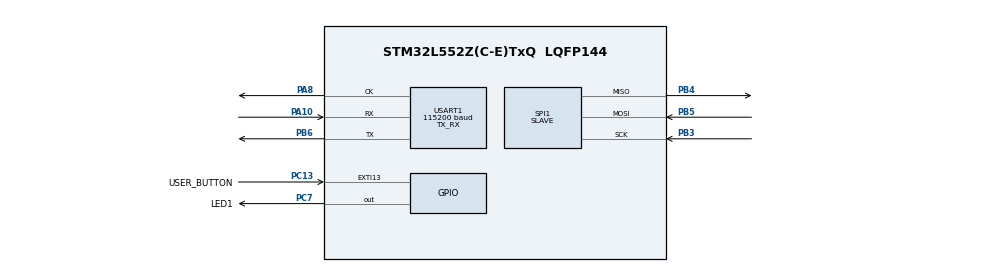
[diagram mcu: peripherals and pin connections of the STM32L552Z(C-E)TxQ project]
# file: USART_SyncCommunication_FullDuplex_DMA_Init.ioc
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Dma.Request0=SPI1_TX
Dma.Request1=SPI1_RX
Dma.Request2=USART1_TX
Dma.Request3=USART1_RX
Dma.SPI1_RX.1.Channel_PRIV_NPRIV=DMA_CHANNEL_NPRIV_DISABLE
Dma.SPI1_RX.1.Direction=DMA_PERIPH_TO_MEMORY
Dma.SPI1_RX.1.EventEnable=DISABLE
Dma.SPI1_RX.1.Instance=DMA1_Channel3
Dma.SPI1_RX.1.MemDataAlignment=DMA_MDATAALIGN_BYTE
Dma.SPI1_RX.1.MemInc=DMA_MINC_ENABLE
Dma.SPI1_RX.1.Mode=DMA_NORMAL
Dma.SPI1_RX.1.PeriphDataAlignment=DMA_PDATAALIGN_BYTE
Dma.SPI1_RX.1.PeriphInc=DMA_PINC_DISABLE
Dma.SPI1_RX.1.Polarity=HAL_DMAMUX_REQ_GEN_RISING
Dma.SPI1_RX.1.Priority=DMA_PRIORITY_HIGH
Dma.SPI1_RX.1.RequestNumber=1
Dma.SPI1_RX.1.SignalID=HAL_DMAMUX1_REQ_GEN_EXTI13
Dma.SPI1_RX.1.SyncEnable=DISABLE
Dma.SPI1_RX.1.SyncPolarity=HAL_DMAMUX_SYNC_NO_EVENT
Dma.SPI1_RX.1.SyncRequestNumber=1
Dma.SPI1_RX.1.SyncSignalID=HAL_DMAMUX1_SYNC_EXTI13
Dma.SPI1_TX.0.Channel_PRIV_NPRIV=DMA_CHANNEL_NPRIV_DISABLE
Dma.SPI1_TX.0.Direction=DMA_MEMORY_TO_PERIPH
Dma.SPI1_TX.0.EventEnable=DISABLE
Dma.SPI1_TX.0.Instance=DMA1_Channel2
Dma.SPI1_TX.0.MemDataAlignment=DMA_MDATAALIGN_BYTE
Dma.SPI1_TX.0.MemInc=DMA_MINC_ENABLE
Dma.SPI1_TX.0.Mode=DMA_NORMAL
Dma.SPI1_TX.0.PeriphDataAlignment=DMA_PDATAALIGN_BYTE
Dma.SPI1_TX.0.PeriphInc=DMA_PINC_DISABLE
Dma.SPI1_TX.0.Polarity=HAL_DMAMUX_REQ_GEN_RISING
Dma.SPI1_TX.0.Priority=DMA_PRIORITY_HIGH
Dma.SPI1_TX.0.RequestNumber=1
Dma.SPI1_TX.0.SignalID=HAL_DMAMUX1_REQ_GEN_EXTI13
Dma.SPI1_TX.0.SyncEnable=DISABLE
Dma.SPI1_TX.0.SyncPolarity=HAL_DMAMUX_SYNC_NO_EVENT
Dma.SPI1_TX.0.SyncRequestNumber=1
Dma.SPI1_TX.0.SyncSignalID=HAL_DMAMUX1_SYNC_EXTI13
Dma.USART1_RX.3.Channel_PRIV_NPRIV=DMA_CHANNEL_NPRIV_DISABLE
Dma.USART1_RX.3.Direction=DMA_PERIPH_TO_MEMORY
Dma.USART1_RX.3.EventEnable=DISABLE
Dma.USART1_RX.3.Instance=DMA1_Channel5
Dma.USART1_RX.3.MemDataAlignment=DMA_MDATAALIGN_BYTE
Dma.USART1_RX.3.MemInc=DMA_MINC_ENABLE
Dma.USART1_RX.3.Mode=DMA_NORMAL
Dma.USART1_RX.3.PeriphDataAlignment=DMA_PDATAALIGN_BYTE
Dma.USART1_RX.3.PeriphInc=DMA_PINC_DISABLE
Dma.USART1_RX.3.Polarity=HAL_DMAMUX_REQ_GEN_RISING
Dma.USART1_RX.3.Priority=DMA_PRIORITY_HIGH
Dma.USART1_RX.3.RequestNumber=1
Dma.USART1_RX.3.SignalID=HAL_DMAMUX1_REQ_GEN_EXTI13
Dma.USART1_RX.3.SyncEnable=DISABLE
Dma.USART1_RX.3.SyncPolarity=HAL_DMAMUX_SYNC_NO_EVENT
Dma.USART1_RX.3.SyncRequestNumber=1
Dma.USART1_RX.3.SyncSignalID=HAL_DMAMUX1_SYNC_EXTI13
Dma.USART1_TX.2.Channel_PRIV_NPRIV=DMA_CHANNEL_NPRIV_DISABLE
Dma.USART1_TX.2.Direction=DMA_MEMORY_TO_PERIPH
Dma.USART1_TX.2.EventEnable=DISABLE
Dma.USART1_TX.2.Instance=DMA1_Channel4
Dma.USART1_TX.2.MemDataAlignment=DMA_MDATAALIGN_BYTE
Dma.USART1_TX.2.MemInc=DMA_MINC_ENABLE
Dma.USART1_TX.2.Mode=DMA_NORMAL
Dma.USART1_TX.2.PeriphDataAlignment=DMA_PDATAALIGN_BYTE
Dma.USART1_TX.2.PeriphInc=DMA_PINC_DISABLE
Dma.USART1_TX.2.Polarity=HAL_DMAMUX_REQ_GEN_RISING
Dma.USART1_TX.2.Priority=DMA_PRIORITY_HIGH
Dma.USART1_TX.2.RequestNumber=1
Dma.USART1_TX.2.SignalID=HAL_DMAMUX1_REQ_GEN_EXTI13
Dma.USART1_TX.2.SyncEnable=DISABLE
Dma.USART1_TX.2.SyncPolarity=HAL_DMAMUX_SYNC_NO_EVENT
Dma.USART1_TX.2.SyncRequestNumber=1
Dma.USART1_TX.2.SyncSignalID=HAL_DMAMUX1_SYNC_EXTI13
Mcu.Family=STM32L5
Mcu.Name=STM32L552Z(C-E)TxQ
Mcu.Package=LQFP144
Mcu.TrustZone=disable
NVIC.DMA1_Channel2_IRQn=true\:0\:0\:false\:false\:true\:false\:true\:true
NVIC.DMA1_Channel3_IRQn=true\:0\:0\:false\:false\:true\:false\:true\:true
NVIC.DMA1_Channel4_IRQn=true\:0\:0\:false\:false\:true\:false\:true\:true
NVIC.DMA1_Channel5_IRQn=true\:0\:0\:false\:false\:true\:false\:true\:true
NVIC.EXTI13_IRQn=true\:0\:0\:false\:false\:true\:true\:true\:true
NVIC.PriorityGroup=NVIC_PRIORITYGROUP_3
PA10.GPIO_PuPd=GPIO_PULLDOWN
PA10.GPIO_Speed=GPIO_SPEED_FREQ_HIGH
PA10.Mode=Synchronous
PA10.Signal=USART1_RX
PA8.GPIO_PuPd=GPIO_PULLDOWN
PA8.GPIO_Speed=GPIO_SPEED_FREQ_HIGH
PA8.Mode=Synchronous
PA8.Signal=USART1_CK
PB3\ (JTDO/TRACESWO).GPIO_PuPd=GPIO_PULLDOWN
PB3\ (JTDO/TRACESWO).GPIO_Speed=GPIO_SPEED_FREQ_HIGH
PB3\ (JTDO/TRACESWO).Mode=Full_Duplex_Slave
PB3\ (JTDO/TRACESWO).Signal=SPI1_SCK
PB4\ (NJTRST).GPIO_PuPd=GPIO_PULLDOWN
PB4\ (NJTRST).GPIO_Speed=GPIO_SPEED_FREQ_HIGH
PB4\ (NJTRST).Mode=Full_Duplex_Slave
PB4\ (NJTRST).Signal=SPI1_MISO
PB5.GPIO_PuPd=GPIO_PULLDOWN
PB5.GPIO_Speed=GPIO_SPEED_FREQ_HIGH
PB5.Mode=Full_Duplex_Slave
PB5.Signal=SPI1_MOSI
PB6.GPIO_PuPd=GPIO_PULLDOWN
PB6.GPIO_Speed=GPIO_SPEED_FREQ_HIGH
PB6.Mode=Synchronous
PB6.Signal=USART1_TX
PC13.GPIO_Label=USER_BUTTON
PC13.GPIO_ModeDefaultEXTI=GPIO_MODE_IT_FALLING
PC13.Signal=GPXTI13
PC7.GPIO_Label=LED1
PC7.Signal=GPIO_Output
ProjectManager.HeapSize=0x200
ProjectManager.StackSize=0x400
ProjectManager.TargetToolchain=EWARM V8.32
RCC.ADCCLockSelection=RCC_ADCCLKSOURCE_SYSCLK
RCC.ADCFreq_Value=110000000
RCC.AHBFreq_Value=110000000
RCC.APB1Freq_Value=110000000
RCC.APB1TimFreq_Value=110000000
RCC.APB2Freq_Value=110000000
RCC.APB2TimFreq_Value=110000000
RCC.CortexFreq_Value=110000000
RCC.HCLKFreq_Value=110000000
RCC.HSE_VALUE=16000000
RCC.HSI48_VALUE=48000000
RCC.HSI_VALUE=16000000
RCC.LSE_VALUE=32768
RCC.MSI_VALUE=4000000
RCC.PLLN=55
RCC.PLLSAI1N=24
RCC.RTCClockSelection=RCC_RTCCLKSOURCE_LSE
RCC.SYSCLKFreq_VALUE=110000000
RCC.SYSCLKSource=RCC_SYSCLKSOURCE_PLLCLK
RCC.USBFreq_Value=48000000
RCC.VCOOutputFreq_Value=220000000
SPI1.CLKPhase=SPI_PHASE_2EDGE
SPI1.CLKPolarity=SPI_POLARITY_LOW
SPI1.CRCCalculation=SPI_CRCCALCULATION_DISABLE
SPI1.DataSize=SPI_DATASIZE_8BIT
SPI1.Direction=SPI_DIRECTION_2LINES
SPI1.FirstBit=SPI_FIRSTBIT_LSB
SPI1.Mode=SPI_MODE_SLAVE
SPI1.NSS=SPI_NSS_SOFT
SPI1.TIMode=SPI_TIMODE_DISABLE
SPI1.VirtualType=VM_SLAVE
USART1.BaudRate=115200
USART1.CLKLastBit=USART_LASTBIT_ENABLE
USART1.CLKPhase=USART_PHASE_2EDGE
USART1.CLKPolarity=USART_POLARITY_LOW
USART1.ClockPrescaler=PRESCALER_DIV1
USART1.FIFOMode=FIFOMODE_DISABLE
USART1.Mode=MODE_TX_RX
USART1.Parity=PARITY_NONE
USART1.RXFIFOThreshold=RXFIFO_THRESHOLD_1QUARTERFULL
USART1.SlaveMode=USART_SLAVEMODE_DISABLE
USART1.StopBits=STOPBITS_1
USART1.TXFIFOThreshold=TXFIFO_THRESHOLD_1QUARTERFULL
USART1.VirtualMode-Synchronous=VM_SYNC
USART1.WordLength=WORDLENGTH_8B
VP_ICACHE_VS_ICACHE.Mode=DirectMappedCache
VP_PWR_VS_DBSignals.Mode=DisableDeadBatterySignals
board=custom

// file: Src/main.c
/* USER CODE BEGIN Header */
/**
  ******************************************************************************
  * @file    Examples_LL/USART/USART_SyncCommunication_FullDuplex_DMA_Init/Src/main.c
  * @author  MCD Application Team
  * @brief   This example describes how to transfer bytes from/to an USART peripheral
  *          to/from an SPI peripheral (in slave mode) using DMA mode
  *          through the STM32L5xx USART LL API.
  *          Peripheral initialization done using LL unitary services functions.
  ******************************************************************************
  * @attention
  *
  * Copyright (c) 2019 STMicroelectronics.
  * All rights reserved.
  *
  * This software is licensed under terms that can be found in the LICENSE file
  * in the root directory of this software component.
  * If no LICENSE file comes with this software, it is provided AS-IS.
  *
  ******************************************************************************
  */
/* USER CODE END Header */
#include "main.h"

/* USER CODE BEGIN PV */
__IO uint8_t ubButtonPress = 0;

/* Buffer used for transmission */
uint8_t aUSART1TxBuffer[] = "**** USART_SyncCommunication_FullDuplex_DMA_Init USART1 to SPI1 communication ****";
uint8_t ubUSART1NbDataToTransmit = sizeof(aUSART1TxBuffer);
__IO uint8_t ubUSART1TransmissionComplete = 0;
uint8_t aSPI1TxBuffer[] = "**** USART_SyncCommunication_FullDuplex_DMA_Init SPI1 to USART1 communication ****";
uint8_t ubSPI1NbDataToTransmit = sizeof(aSPI1TxBuffer);
__IO uint8_t ubSPI1TransmissionComplete = 0;

/* Buffer used for reception */
uint8_t aUSART1RxBuffer[sizeof(aSPI1TxBuffer)];
uint8_t ubUSART1NbDataToReceive = sizeof(aSPI1TxBuffer);
__IO uint8_t ubUSART1ReceptionComplete = 0;
uint8_t aSPI1RxBuffer[sizeof(aUSART1TxBuffer)];
uint8_t ubSPI1NbDataToReceive = sizeof(aUSART1TxBuffer);
__IO uint8_t ubSPI1ReceptionComplete = 0;

/* USER CODE END PV */

void SystemClock_Config(void);
static void MX_GPIO_Init(void);
static void MX_DMA_Init(void);
static void MX_ICACHE_Init(void);
static void MX_USART1_Init(void);
static void MX_SPI1_Init(void);
/* USER CODE BEGIN PFP */
void     Activate_SPI1(void);
void     StartTransfers(void);
void     LED_On(void);
void     LED_Blinking(uint32_t Period);
void     LED_Off(void);
void     WaitForUserButtonPress(void);
void     WaitAndCheckEndOfTransfer(void);
uint8_t  Buffercmp8(uint8_t *pBuffer1, uint8_t *pBuffer2, uint8_t BufferLength);
/* USER CODE END PFP */

int main(void)
{

  /* MCU Configuration--------------------------------------------------------*/

  /* Reset of all peripherals, Initializes the Flash interface and the Systick. */
  LL_APB2_GRP1_EnableClock(LL_APB2_GRP1_PERIPH_SYSCFG);
  LL_APB1_GRP1_EnableClock(LL_APB1_GRP1_PERIPH_PWR);

  /* System interrupt init*/
  NVIC_SetPriorityGrouping(NVIC_PRIORITYGROUP_3);

  /** Disable the internal Pull-Up in Dead Battery pins of UCPD peripheral
  */
  LL_PWR_DisableUCPDDeadBattery();

  /* Configure the system clock */
  SystemClock_Config();

  /* Initialize all configured peripherals */
  MX_GPIO_Init();
  MX_DMA_Init();
  MX_ICACHE_Init();
  MX_USART1_Init();
  MX_SPI1_Init();
  /* USER CODE BEGIN 2 */

  /* Enable the SPI1 peripheral */
  Activate_SPI1();

  /* Wait for User push-button press to start transfer */
  WaitForUserButtonPress();

  /* Initiate DMA transfers */
  StartTransfers();

  /* Wait for the end of the transfer and check received data */
  WaitAndCheckEndOfTransfer();

  /* USER CODE END 2 */

  /* Infinite loop */
  while (1)
  {

  }
}

void SystemClock_Config(void)
{
  LL_FLASH_SetLatency(LL_FLASH_LATENCY_5);
  while(LL_FLASH_GetLatency()!= LL_FLASH_LATENCY_5)
  {
  }

  LL_PWR_SetRegulVoltageScaling(LL_PWR_REGU_VOLTAGE_SCALE0);
  LL_RCC_MSI_Enable();

   /* Wait till MSI is ready */
  while(LL_RCC_MSI_IsReady() != 1)
  {
  }

  LL_RCC_MSI_EnableRangeSelection();
  LL_RCC_MSI_SetRange(LL_RCC_MSIRANGE_6);
  LL_RCC_MSI_SetCalibTrimming(0);
  LL_RCC_PLL_ConfigDomain_SYS(LL_RCC_PLLSOURCE_MSI, LL_RCC_PLLM_DIV_1, 55, LL_RCC_PLLR_DIV_2);
  LL_RCC_PLL_EnableDomain_SYS();
  LL_RCC_PLL_Enable();

   /* Wait till PLL is ready */
  while(LL_RCC_PLL_IsReady() != 1)
  {
  }

   /* Intermediate AHB prescaler 2 when target frequency clock is higher than 80 MHz */
   LL_RCC_SetAHBPrescaler(LL_RCC_SYSCLK_DIV_2);

  LL_RCC_SetSysClkSource(LL_RCC_SYS_CLKSOURCE_PLL);

   /* Wait till System clock is ready */
  while(LL_RCC_GetSysClkSource() != LL_RCC_SYS_CLKSOURCE_STATUS_PLL)
  {
  }

  /* Insure 1us transition state at intermediate medium speed clock*/
  for (__IO uint32_t i = (RCC_MAX_FREQUENCY_MHZ >> 1); i !=0; i--);

  LL_RCC_SetAHBPrescaler(LL_RCC_SYSCLK_DIV_1);
  LL_RCC_SetAPB1Prescaler(LL_RCC_APB1_DIV_1);
  LL_RCC_SetAPB2Prescaler(LL_RCC_APB2_DIV_1);

  LL_Init1msTick(110000000);

  LL_SetSystemCoreClock(110000000);
}

static void MX_ICACHE_Init(void)
{

  /** Enable instruction cache in 1-way (direct mapped cache)
  */
  LL_ICACHE_SetMode(LL_ICACHE_1WAY);
  LL_ICACHE_Enable();

}

static void MX_SPI1_Init(void)
{

  LL_SPI_InitTypeDef SPI_InitStruct = {0};

  LL_GPIO_InitTypeDef GPIO_InitStruct = {0};

  /* Peripheral clock enable */
  LL_APB2_GRP1_EnableClock(LL_APB2_GRP1_PERIPH_SPI1);

  LL_AHB2_GRP1_EnableClock(LL_AHB2_GRP1_PERIPH_GPIOB);
  /**SPI1 GPIO Configuration
  PB3 (JTDO/TRACESWO)   ------> SPI1_SCK
  PB4 (NJTRST)   ------> SPI1_MISO
  PB5   ------> SPI1_MOSI
  */
  GPIO_InitStruct.Pin = LL_GPIO_PIN_3|LL_GPIO_PIN_4|LL_GPIO_PIN_5;
  GPIO_InitStruct.Mode = LL_GPIO_MODE_ALTERNATE;
  GPIO_InitStruct.Speed = LL_GPIO_SPEED_FREQ_HIGH;
  GPIO_InitStruct.OutputType = LL_GPIO_OUTPUT_PUSHPULL;
  GPIO_InitStruct.Pull = LL_GPIO_PULL_DOWN;
  GPIO_InitStruct.Alternate = LL_GPIO_AF_5;
  LL_GPIO_Init(GPIOB, &GPIO_InitStruct);

  /* SPI1 DMA Init */

  /* SPI1_TX Init */
  LL_DMA_SetPeriphRequest(DMA1, LL_DMA_CHANNEL_2, LL_DMAMUX_REQ_SPI1_TX);

  LL_DMA_SetDataTransferDirection(DMA1, LL_DMA_CHANNEL_2, LL_DMA_DIRECTION_MEMORY_TO_PERIPH);

  LL_DMA_SetChannelPriorityLevel(DMA1, LL_DMA_CHANNEL_2, LL_DMA_PRIORITY_HIGH);

  LL_DMA_SetMode(DMA1, LL_DMA_CHANNEL_2, LL_DMA_MODE_NORMAL);

  LL_DMA_SetPeriphIncMode(DMA1, LL_DMA_CHANNEL_2, LL_DMA_PERIPH_NOINCREMENT);

  LL_DMA_SetMemoryIncMode(DMA1, LL_DMA_CHANNEL_2, LL_DMA_MEMORY_INCREMENT);

  LL_DMA_SetPeriphSize(DMA1, LL_DMA_CHANNEL_2, LL_DMA_PDATAALIGN_BYTE);

  LL_DMA_SetMemorySize(DMA1, LL_DMA_CHANNEL_2, LL_DMA_MDATAALIGN_BYTE);

  LL_DMA_DisableChannelPrivilege(DMA1, LL_DMA_CHANNEL_2);

  /* SPI1_RX Init */
  LL_DMA_SetPeriphRequest(DMA1, LL_DMA_CHANNEL_3, LL_DMAMUX_REQ_SPI1_RX);

  LL_DMA_SetDataTransferDirection(DMA1, LL_DMA_CHANNEL_3, LL_DMA_DIRECTION_PERIPH_TO_MEMORY);

  LL_DMA_SetChannelPriorityLevel(DMA1, LL_DMA_CHANNEL_3, LL_DMA_PRIORITY_HIGH);

  LL_DMA_SetMode(DMA1, LL_DMA_CHANNEL_3, LL_DMA_MODE_NORMAL);

  LL_DMA_SetPeriphIncMode(DMA1, LL_DMA_CHANNEL_3, LL_DMA_PERIPH_NOINCREMENT);

  LL_DMA_SetMemoryIncMode(DMA1, LL_DMA_CHANNEL_3, LL_DMA_MEMORY_INCREMENT);

  LL_DMA_SetPeriphSize(DMA1, LL_DMA_CHANNEL_3, LL_DMA_PDATAALIGN_BYTE);

  LL_DMA_SetMemorySize(DMA1, LL_DMA_CHANNEL_3, LL_DMA_MDATAALIGN_BYTE);

  LL_DMA_DisableChannelPrivilege(DMA1, LL_DMA_CHANNEL_3);

  /* USER CODE BEGIN SPI1_Init 1 */
  /* (3) Configure the DMA1 functional parameters for transmission */
  LL_DMA_ConfigAddresses(DMA1, LL_DMA_CHANNEL_2,
                         (uint32_t)aSPI1TxBuffer,
                         (uint32_t)&(SPI1->DR),
                         LL_DMA_GetDataTransferDirection(DMA1, LL_DMA_CHANNEL_2));
  LL_DMA_SetDataLength(DMA1, LL_DMA_CHANNEL_2, ubSPI1NbDataToTransmit);

  /* (4) Configure the DMA functional parameters for reception */
  LL_DMA_ConfigAddresses(DMA1, LL_DMA_CHANNEL_3,
                         (uint32_t)&(SPI1->DR),
                         (uint32_t)aSPI1RxBuffer,
                         LL_DMA_GetDataTransferDirection(DMA1, LL_DMA_CHANNEL_3));
  LL_DMA_SetDataLength(DMA1, LL_DMA_CHANNEL_3, ubSPI1NbDataToReceive);
  /* (5) Enable DMA transfer complete/error interrupts  */
  LL_DMA_EnableIT_TC(DMA1, LL_DMA_CHANNEL_2);
  LL_DMA_EnableIT_TE(DMA1, LL_DMA_CHANNEL_2);
  LL_DMA_EnableIT_TC(DMA1, LL_DMA_CHANNEL_3);
  LL_DMA_EnableIT_TE(DMA1, LL_DMA_CHANNEL_3);
  /* USER CODE END SPI1_Init 1 */
  /* SPI1 parameter configuration*/
  SPI_InitStruct.TransferDirection = LL_SPI_FULL_DUPLEX;
  SPI_InitStruct.Mode = LL_SPI_MODE_SLAVE;
  SPI_InitStruct.DataWidth = LL_SPI_DATAWIDTH_8BIT;
  SPI_InitStruct.ClockPolarity = LL_SPI_POLARITY_LOW;
  SPI_InitStruct.ClockPhase = LL_SPI_PHASE_2EDGE;
  SPI_InitStruct.NSS = LL_SPI_NSS_SOFT;
  SPI_InitStruct.BitOrder = LL_SPI_LSB_FIRST;
  SPI_InitStruct.CRCCalculation = LL_SPI_CRCCALCULATION_DISABLE;
  SPI_InitStruct.CRCPoly = 7;
  LL_SPI_Init(SPI1, &SPI_InitStruct);
  LL_SPI_SetStandard(SPI1, LL_SPI_PROTOCOL_MOTOROLA);
  LL_SPI_DisableNSSPulseMgt(SPI1);
  /* USER CODE BEGIN SPI1_Init 2 */
  LL_SPI_SetRxFIFOThreshold(SPI1, LL_SPI_RX_FIFO_TH_QUARTER);

  /* Configure SPI1 DMA transfer interrupts */
  /* Enable DMA TX Interrupt */
  LL_SPI_EnableDMAReq_TX(SPI1);
  /* Enable DMA RX Interrupt */
  LL_SPI_EnableDMAReq_RX(SPI1);
  /* USER CODE END SPI1_Init 2 */

}

static void MX_USART1_Init(void)
{

  LL_USART_InitTypeDef USART_InitStruct = {0};
  LL_USART_ClockInitTypeDef USART_ClockInitStruct = {0};

  LL_GPIO_InitTypeDef GPIO_InitStruct = {0};

  LL_RCC_SetUSARTClockSource(LL_RCC_USART1_CLKSOURCE_PCLK2);

  /* Peripheral clock enable */
  LL_APB2_GRP1_EnableClock(LL_APB2_GRP1_PERIPH_USART1);

  LL_AHB2_GRP1_EnableClock(LL_AHB2_GRP1_PERIPH_GPIOA);
  LL_AHB2_GRP1_EnableClock(LL_AHB2_GRP1_PERIPH_GPIOB);
  /**USART1 GPIO Configuration
  PA8   ------> USART1_CK
  PA10   ------> USART1_RX
  PB6   ------> USART1_TX
  */
  GPIO_InitStruct.Pin = LL_GPIO_PIN_8|LL_GPIO_PIN_10;
  GPIO_InitStruct.Mode = LL_GPIO_MODE_ALTERNATE;
  GPIO_InitStruct.Speed = LL_GPIO_SPEED_FREQ_HIGH;
  GPIO_InitStruct.OutputType = LL_GPIO_OUTPUT_PUSHPULL;
  GPIO_InitStruct.Pull = LL_GPIO_PULL_DOWN;
  GPIO_InitStruct.Alternate = LL_GPIO_AF_7;
  LL_GPIO_Init(GPIOA, &GPIO_InitStruct);

  GPIO_InitStruct.Pin = LL_GPIO_PIN_6;
  GPIO_InitStruct.Mode = LL_GPIO_MODE_ALTERNATE;
  GPIO_InitStruct.Speed = LL_GPIO_SPEED_FREQ_HIGH;
  GPIO_InitStruct.OutputType = LL_GPIO_OUTPUT_PUSHPULL;
  GPIO_InitStruct.Pull = LL_GPIO_PULL_DOWN;
  GPIO_InitStruct.Alternate = LL_GPIO_AF_7;
  LL_GPIO_Init(GPIOB, &GPIO_InitStruct);

  /* USART1 DMA Init */

  /* USART1_TX Init */
  LL_DMA_SetPeriphRequest(DMA1, LL_DMA_CHANNEL_4, LL_DMAMUX_REQ_USART1_TX);

  LL_DMA_SetDataTransferDirection(DMA1, LL_DMA_CHANNEL_4, LL_DMA_DIRECTION_MEMORY_TO_PERIPH);

  LL_DMA_SetChannelPriorityLevel(DMA1, LL_DMA_CHANNEL_4, LL_DMA_PRIORITY_HIGH);

  LL_DMA_SetMode(DMA1, LL_DMA_CHANNEL_4, LL_DMA_MODE_NORMAL);

  LL_DMA_SetPeriphIncMode(DMA1, LL_DMA_CHANNEL_4, LL_DMA_PERIPH_NOINCREMENT);

  LL_DMA_SetMemoryIncMode(DMA1, LL_DMA_CHANNEL_4, LL_DMA_MEMORY_INCREMENT);

  LL_DMA_SetPeriphSize(DMA1, LL_DMA_CHANNEL_4, LL_DMA_PDATAALIGN_BYTE);

  LL_DMA_SetMemorySize(DMA1, LL_DMA_CHANNEL_4, LL_DMA_MDATAALIGN_BYTE);

  LL_DMA_DisableChannelPrivilege(DMA1, LL_DMA_CHANNEL_4);

  /* USART1_RX Init */
  LL_DMA_SetPeriphRequest(DMA1, LL_DMA_CHANNEL_5, LL_DMAMUX_REQ_USART1_RX);

  LL_DMA_SetDataTransferDirection(DMA1, LL_DMA_CHANNEL_5, LL_DMA_DIRECTION_PERIPH_TO_MEMORY);

  LL_DMA_SetChannelPriorityLevel(DMA1, LL_DMA_CHANNEL_5, LL_DMA_PRIORITY_HIGH);

  LL_DMA_SetMode(DMA1, LL_DMA_CHANNEL_5, LL_DMA_MODE_NORMAL);

  LL_DMA_SetPeriphIncMode(DMA1, LL_DMA_CHANNEL_5, LL_DMA_PERIPH_NOINCREMENT);

  LL_DMA_SetMemoryIncMode(DMA1, LL_DMA_CHANNEL_5, LL_DMA_MEMORY_INCREMENT);

  LL_DMA_SetPeriphSize(DMA1, LL_DMA_CHANNEL_5, LL_DMA_PDATAALIGN_BYTE);

  LL_DMA_SetMemorySize(DMA1, LL_DMA_CHANNEL_5, LL_DMA_MDATAALIGN_BYTE);

  LL_DMA_DisableChannelPrivilege(DMA1, LL_DMA_CHANNEL_5);

  /* USER CODE BEGIN USART1_Init 1 */

  LL_DMA_ConfigAddresses(DMA1, LL_DMA_CHANNEL_4,
                         (uint32_t)aUSART1TxBuffer,
                         LL_USART_DMA_GetRegAddr(USART1, LL_USART_DMA_REG_DATA_TRANSMIT),
                         LL_DMA_GetDataTransferDirection(DMA1, LL_DMA_CHANNEL_4));
  LL_DMA_SetDataLength(DMA1, LL_DMA_CHANNEL_4, ubUSART1NbDataToTransmit);
  LL_DMA_ConfigAddresses(DMA1, LL_DMA_CHANNEL_5,
                         LL_USART_DMA_GetRegAddr(USART1, LL_USART_DMA_REG_DATA_RECEIVE),
                         (uint32_t)aUSART1RxBuffer,
                         LL_DMA_GetDataTransferDirection(DMA1, LL_DMA_CHANNEL_5));
  LL_DMA_SetDataLength(DMA1, LL_DMA_CHANNEL_5, ubUSART1NbDataToReceive);
  LL_DMA_EnableIT_TC(DMA1, LL_DMA_CHANNEL_4);
  LL_DMA_EnableIT_TE(DMA1, LL_DMA_CHANNEL_4);
  LL_DMA_EnableIT_TC(DMA1, LL_DMA_CHANNEL_5);
  LL_DMA_EnableIT_TE(DMA1, LL_DMA_CHANNEL_5);
  /* USER CODE END USART1_Init 1 */
  USART_InitStruct.PrescalerValue = LL_USART_PRESCALER_DIV1;
  USART_InitStruct.BaudRate = 115200;
  USART_InitStruct.DataWidth = LL_USART_DATAWIDTH_8B;
  USART_InitStruct.StopBits = LL_USART_STOPBITS_1;
  USART_InitStruct.Parity = LL_USART_PARITY_NONE;
  USART_InitStruct.TransferDirection = LL_USART_DIRECTION_TX_RX;
  USART_InitStruct.OverSampling = LL_USART_OVERSAMPLING_8;

  LL_USART_Init(USART1, &USART_InitStruct);
  LL_USART_SetTXFIFOThreshold(USART1, LL_USART_FIFOTHRESHOLD_1_4);
  LL_USART_SetRXFIFOThreshold(USART1, LL_USART_FIFOTHRESHOLD_1_4);
  USART_ClockInitStruct.ClockOutput = LL_USART_CLOCK_ENABLE;
  USART_ClockInitStruct.ClockPolarity = LL_USART_POLARITY_LOW;
  USART_ClockInitStruct.ClockPhase = LL_USART_PHASE_2EDGE;
  USART_ClockInitStruct.LastBitClockPulse = LL_USART_LASTCLKPULSE_OUTPUT;
  LL_USART_ClockInit(USART1, &USART_ClockInitStruct);
  LL_USART_DisableFIFO(USART1);
  LL_USART_ConfigSyncMode(USART1);
  LL_USART_Enable(USART1);
  /* USER CODE BEGIN USART1_Init 2 */

  /* Polling USART initialisation */
  while ((!(LL_USART_IsActiveFlag_TEACK(USART1))) || (!(LL_USART_IsActiveFlag_REACK(USART1))))
  {
  }
  /* USER CODE END USART1_Init 2 */

}

static void MX_DMA_Init(void)
{

  /* Init with LL driver */
  /* DMA controller clock enable */
  LL_AHB1_GRP1_EnableClock(LL_AHB1_GRP1_PERIPH_DMAMUX1);
  LL_AHB1_GRP1_EnableClock(LL_AHB1_GRP1_PERIPH_DMA1);

  /* DMA interrupt init */
  /* DMA1_Channel2_IRQn interrupt configuration */
  NVIC_SetPriority(DMA1_Channel2_IRQn, NVIC_EncodePriority(NVIC_GetPriorityGrouping(),0, 0));
  NVIC_EnableIRQ(DMA1_Channel2_IRQn);
  /* DMA1_Channel3_IRQn interrupt configuration */
  NVIC_SetPriority(DMA1_Channel3_IRQn, NVIC_EncodePriority(NVIC_GetPriorityGrouping(),0, 0));
  NVIC_EnableIRQ(DMA1_Channel3_IRQn);
  /* DMA1_Channel4_IRQn interrupt configuration */
  NVIC_SetPriority(DMA1_Channel4_IRQn, NVIC_EncodePriority(NVIC_GetPriorityGrouping(),0, 0));
  NVIC_EnableIRQ(DMA1_Channel4_IRQn);
  /* DMA1_Channel5_IRQn interrupt configuration */
  NVIC_SetPriority(DMA1_Channel5_IRQn, NVIC_EncodePriority(NVIC_GetPriorityGrouping(),0, 0));
  NVIC_EnableIRQ(DMA1_Channel5_IRQn);

}

static void MX_GPIO_Init(void)
{
  LL_EXTI_InitTypeDef EXTI_InitStruct = {0};
  LL_GPIO_InitTypeDef GPIO_InitStruct = {0};

  /* GPIO Ports Clock Enable */
  LL_AHB2_GRP1_EnableClock(LL_AHB2_GRP1_PERIPH_GPIOC);
  LL_AHB2_GRP1_EnableClock(LL_AHB2_GRP1_PERIPH_GPIOA);
  LL_AHB2_GRP1_EnableClock(LL_AHB2_GRP1_PERIPH_GPIOB);

  /**/
  LL_GPIO_ResetOutputPin(LED1_GPIO_Port, LED1_Pin);

  /**/
  LL_EXTI_SetEXTISource(LL_EXTI_EXTI_PORTC, LL_EXTI_EXTI_LINE13);

  /**/
  EXTI_InitStruct.Line_0_31 = LL_EXTI_LINE_13;
  EXTI_InitStruct.Line_32_63 = LL_EXTI_LINE_NONE;
  EXTI_InitStruct.LineCommand = ENABLE;
  EXTI_InitStruct.Mode = LL_EXTI_MODE_IT;
  EXTI_InitStruct.Trigger = LL_EXTI_TRIGGER_FALLING;
  LL_EXTI_Init(&EXTI_InitStruct);

  /**/
  LL_GPIO_SetPinPull(USER_BUTTON_GPIO_Port, USER_BUTTON_Pin, LL_GPIO_PULL_NO);

  /**/
  LL_GPIO_SetPinMode(USER_BUTTON_GPIO_Port, USER_BUTTON_Pin, LL_GPIO_MODE_INPUT);

  /**/
  GPIO_InitStruct.Pin = LED1_Pin;
  GPIO_InitStruct.Mode = LL_GPIO_MODE_OUTPUT;
  GPIO_InitStruct.Speed = LL_GPIO_SPEED_FREQ_LOW;
  GPIO_InitStruct.OutputType = LL_GPIO_OUTPUT_PUSHPULL;
  GPIO_InitStruct.Pull = LL_GPIO_PULL_NO;
  LL_GPIO_Init(LED1_GPIO_Port, &GPIO_InitStruct);

  /* EXTI interrupt init*/
  NVIC_SetPriority(EXTI13_IRQn, NVIC_EncodePriority(NVIC_GetPriorityGrouping(),0, 0));
  NVIC_EnableIRQ(EXTI13_IRQn);

}

/* USER CODE BEGIN 4 */

/**
  * @brief  This function Activate SPI1
  * @param  None
  * @retval None
  */
void Activate_SPI1(void)
{
  /* Enable SPI1 */
  LL_SPI_Enable(SPI1);

  /* Enable DMA Channels Tx and Rx */
  LL_DMA_EnableChannel(DMA1, LL_DMA_CHANNEL_2);
  LL_DMA_EnableChannel(DMA1, LL_DMA_CHANNEL_3);
}

/**
  * @brief  This function initiates TX and RX DMA transfers by enabling DMA channels
  * @param  None
  * @retval None
  */
void StartTransfers(void)
{
  /* Enable DMA RX Interrupt */
  LL_USART_EnableDMAReq_RX(USART1);

  /* Enable DMA TX Interrupt */
  LL_USART_EnableDMAReq_TX(USART1);

  /* Enable DMA Channel Rx */
  LL_DMA_EnableChannel(DMA1, LL_DMA_CHANNEL_5);

  /* Enable DMA Channel Tx */
  LL_DMA_EnableChannel(DMA1, LL_DMA_CHANNEL_4);
}

/**
  * @brief  Turn-on LED1.
  * @param  None
  * @retval None
  */
void LED_On(void)
{
  /* Turn LED1 on */
  LL_GPIO_SetOutputPin(LED1_GPIO_Port, LED1_Pin);
}

/**
  * @brief  Turn-off LED1.
  * @param  None
  * @retval None
  */
void LED_Off(void)
{
  /* Turn LED1 off */
  LL_GPIO_ResetOutputPin(LED1_GPIO_Port, LED1_Pin);
}

/**
  * @brief  Set LED1 to Blinking mode for an infinite loop (toggle period based on value provided as input parameter).
  * @param  Period : Period of time (in ms) between each toggling of LED
  *   This parameter can be user defined values. Pre-defined values used in that example are :
  *     @arg LED_BLINK_FAST : Fast Blinking
  *     @arg LED_BLINK_SLOW : Slow Blinking
  *     @arg LED_BLINK_ERROR : Error specific Blinking
  * @retval None
  */
void LED_Blinking(uint32_t Period)
{
  /* Toggle LED1 in an infinite loop */
  while (1)
  {
    LL_GPIO_TogglePin(LED1_GPIO_Port, LED1_Pin);
    LL_mDelay(Period);
  }
}

/**
  * @brief  Wait for User push-button press to start transfer.
  * @param  None
  * @retval None
  */
/*  */
void WaitForUserButtonPress(void)
{
  while (ubButtonPress == 0)
  {
    LL_GPIO_TogglePin(LED1_GPIO_Port, LED1_Pin);
    LL_mDelay(LED_BLINK_FAST);
  }
  /* Ensure that LED1 is turned Off */
  LED_Off();
}

/**
  * @brief  Wait end of transfer and check if received Data are well.
  * @param  None
  * @retval None
  */
void WaitAndCheckEndOfTransfer(void)
{
  /* 1 - Wait end of transmission from USART1 */
  while (ubUSART1TransmissionComplete != 1)
  {
  }
  /* Disable DMA1 Tx Channel */
  LL_DMA_DisableChannel(DMA1, LL_DMA_CHANNEL_4);

  /* 2 - Wait end of transmission from SPI1 */
  while (ubSPI1TransmissionComplete != 1)
  {
  }
  /* Disable DMA1 Tx Channel */
  LL_DMA_DisableChannel(DMA1, LL_DMA_CHANNEL_2);

  /* 3 - Wait end of reception from USART1 */
  while (ubUSART1ReceptionComplete != 1)
  {
  }
  /* Disable DMA1 Rx Channel */
  LL_DMA_DisableChannel(DMA1, LL_DMA_CHANNEL_5);

  /* 4 - Wait end of reception from SPI1 */
  while (ubSPI1ReceptionComplete != 1)
  {
  }
  /* Disable DMA1 Rx Channel */
  LL_DMA_DisableChannel(DMA1, LL_DMA_CHANNEL_3);

  /* 5 - Compare received data to transmitted one (USART1 => SPI1) */
  if (Buffercmp8((uint8_t *)aUSART1TxBuffer, (uint8_t *)aSPI1RxBuffer, ubUSART1NbDataToTransmit))
  {
    /* Processing Error */
    LED_Blinking(LED_BLINK_ERROR);
  }
  /* 6 - Compare received data to transmitted one (SPI1 => USART1) */
  else if (Buffercmp8((uint8_t *)aSPI1TxBuffer, (uint8_t *)aUSART1RxBuffer, ubSPI1NbDataToTransmit))
  {
    /* Processing Error */
    LED_Blinking(LED_BLINK_ERROR);
  }
  else
  {
    /* Turn On Led if data are well received */
    LED_On();
  }
}

/**
* @brief Compares two 8-bit buffers and returns the comparison result.
* @param pBuffer1: pointer to the source buffer to be compared to.
* @param pBuffer2: pointer to the second source buffer to be compared to the first.
* @param BufferLength: buffer's length.
* @retval   0: Comparison is OK (the two Buffers are identical)
*           Value different from 0: Comparison is NOK (Buffers are different)
*/
uint8_t Buffercmp8(uint8_t *pBuffer1, uint8_t *pBuffer2, uint8_t BufferLength)
{
  while (BufferLength--)
  {
    if (*pBuffer1 != *pBuffer2)
    {
      return 1;
    }

    pBuffer1++;
    pBuffer2++;
  }

  return 0;
}

/******************************************************************************/
/*   USER IRQ HANDLER TREATMENT Functions                                     */
/******************************************************************************/
/**
  * @brief  Function to manage User push-button
  * @param  None
  * @retval None
  */
void UserButton_Callback(void)
{
  /* Update User push-button variable : to be checked in waiting loop in main program */
  ubButtonPress = 1;
}

/**
  * @brief  Function called from DMA1 IRQ Handler when Tx transfer is completed (USART1)
  * @param  None
  * @retval None
  */
void USART1_DMA1_TransmitComplete_Callback(void)
{
  /* DMA Tx transfer completed */
  ubUSART1TransmissionComplete = 1;
}

/**
  * @brief  Function called from DMA1 IRQ Handler when Tx transfer is completed (SPI1)
  * @param  None
  * @retval None
  */
void SPI1_DMA1_TransmitComplete_Callback(void)
{
  /* DMA Tx transfer completed */
  ubSPI1TransmissionComplete = 1;
}

/**
  * @brief  Function called from DMA1 IRQ Handler when Rx transfer is completed (USART1)
  * @param  None
  * @retval None
  */
void USART1_DMA1_ReceiveComplete_Callback(void)
{
  /* DMA Rx transfer completed */
  ubUSART1ReceptionComplete = 1;
}

/**
  * @brief  Function called from DMA1 IRQ Handler when Rx transfer is completed (SPI1)
  * @param  None
  * @retval None
  */
void SPI1_DMA1_ReceiveComplete_Callback(void)
{
  /* DMA Rx transfer completed */
  ubSPI1ReceptionComplete = 1;
}

/**
  * @brief  Function called in case of error detected in USART IT Handler
  * @param  None
  * @retval None
  */
void USART_TransferError_Callback(void)
{
  /* Disable DMA1 Tx Channel */
  LL_DMA_DisableChannel(DMA1, LL_DMA_CHANNEL_4);

  /* Disable DMA1 Rx Channel */
  LL_DMA_DisableChannel(DMA1, LL_DMA_CHANNEL_5);

  /* Set LED1 to Blinking mode to indicate error occurs */
  LED_Blinking(LED_BLINK_ERROR);
}

/**
  * @brief  Function called in case of error detected in SPI IT Handler
  * @param  None
  * @retval None
  */
void SPI_TransferError_Callback(void)
{
  /* Disable DMA1 Tx Channel */
  LL_DMA_DisableChannel(DMA1, LL_DMA_CHANNEL_2);

  /* Disable DMA1 Rx Channel */
  LL_DMA_DisableChannel(DMA1, LL_DMA_CHANNEL_3);

  /* Set LED1 to Blinking mode to indicate error occurs */
  LED_Blinking(LED_BLINK_ERROR);
}

/* USER CODE END 4 */

void Error_Handler(void)
{
  while(1)
  {
  }
}

#ifdef  USE_FULL_ASSERT
/**
  * @brief  Reports the name of the source file and the source line number
  *         where the assert_param error has occurred.
  * @param  file: pointer to the source file name
  * @param  line: assert_param error line source number
  * @retval None
  */
void assert_failed(uint8_t *file, uint32_t line)
{
  /* USER CODE BEGIN 6 */
  /* User can add his own implementation to report the file name and line number,
     ex: printf("Wrong parameters value: file %s on line %d\r\n", file, line) */
  /* Infinite loop */
  while (1)
  {}
  /* USER CODE END 6 */
}
#endif /* USE_FULL_ASSERT */
